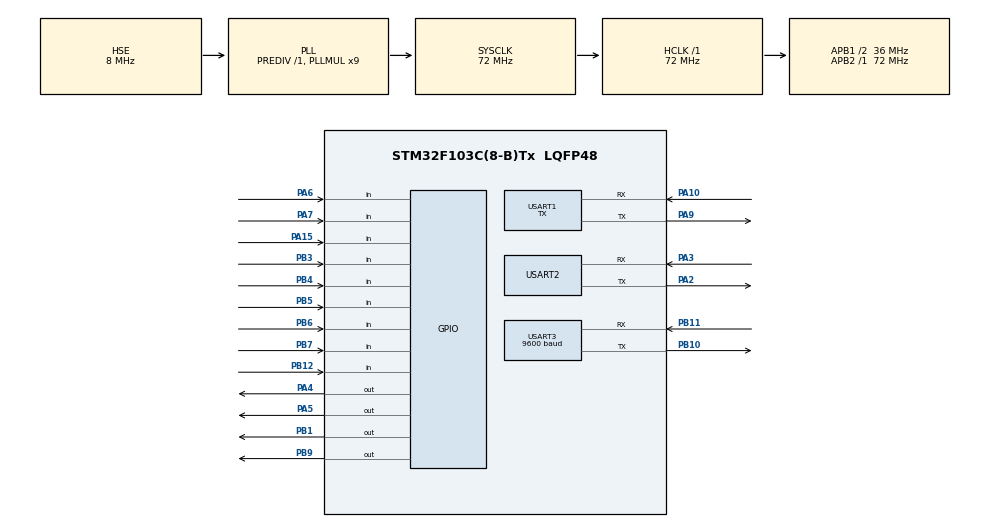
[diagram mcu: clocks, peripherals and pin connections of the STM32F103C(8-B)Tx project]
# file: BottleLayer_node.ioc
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Dma.Request0=USART3_RX
Dma.USART3_RX.0.Direction=DMA_PERIPH_TO_MEMORY
Dma.USART3_RX.0.Instance=DMA1_Channel3
Dma.USART3_RX.0.MemDataAlignment=DMA_MDATAALIGN_BYTE
Dma.USART3_RX.0.MemInc=DMA_MINC_ENABLE
Dma.USART3_RX.0.Mode=DMA_NORMAL
Dma.USART3_RX.0.PeriphDataAlignment=DMA_PDATAALIGN_BYTE
Dma.USART3_RX.0.PeriphInc=DMA_PINC_DISABLE
Dma.USART3_RX.0.Priority=DMA_PRIORITY_HIGH
FREERTOS.Queues01=RFID_DATA_Queue,4,uint16_t,0,Dynamic,NULL,NULL
FREERTOS.Tasks01=RFID_Reset_Task,24,128,StartRFIDResetTask,Default,NULL,Dynamic,NULL,NULL;RFID_RX,8,512,StartRFID_RX,Default,NULL,Dynamic,NULL,NULL
FREERTOS.configTOTAL_HEAP_SIZE=8192
Mcu.Family=STM32F1
Mcu.Name=STM32F103C(8-B)Tx
Mcu.Package=LQFP48
NVIC.DMA1_Channel3_IRQn=true\:5\:0\:false\:false\:true\:true\:false\:true\:true
NVIC.PriorityGroup=NVIC_PRIORITYGROUP_4
NVIC.TIM3_IRQn=true\:5\:0\:false\:false\:true\:false\:true\:true\:true
NVIC.TIM4_IRQn=true\:15\:0\:false\:false\:true\:false\:false\:true\:true
NVIC.TimeBase=TIM4_IRQn
NVIC.TimeBaseIP=TIM4
NVIC.USART3_IRQn=true\:5\:0\:false\:false\:true\:true\:true\:true\:true
PA10.Mode=Asynchronous
PA10.Signal=USART1_RX
PA13.Mode=Serial_Wire
PA13.Signal=SYS_JTMS-SWDIO
PA14.Mode=Serial_Wire
PA14.Signal=SYS_JTCK-SWCLK
PA15.Signal=GPIO_Input
PA2.Mode=Asynchronous
PA2.Signal=USART2_TX
PA3.Mode=Asynchronous
PA3.Signal=USART2_RX
PA4.GPIO_PuPd=GPIO_PULLDOWN
PA4.GPIO_Speed=GPIO_SPEED_FREQ_HIGH
PA4.Signal=GPIO_Output
PA5.GPIO_PuPd=GPIO_PULLDOWN
PA5.GPIO_Speed=GPIO_SPEED_FREQ_HIGH
PA5.Signal=GPIO_Output
PA6.Signal=GPIO_Input
PA7.Signal=GPIO_Input
PA9.Mode=Asynchronous
PA9.Signal=USART1_TX
PB1.GPIO_PuPd=GPIO_PULLUP
PB1.GPIO_Speed=GPIO_SPEED_FREQ_HIGH
PB1.Signal=GPIO_Output
PB10.Mode=Asynchronous
PB10.Signal=USART3_TX
PB11.Mode=Asynchronous
PB11.Signal=USART3_RX
PB12.Signal=GPIO_Input
PB3.Signal=GPIO_Input
PB4.Signal=GPIO_Input
PB5.Signal=GPIO_Input
PB6.Signal=GPIO_Input
PB7.Signal=GPIO_Input
PB9.GPIO_PuPd=GPIO_PULLUP
PB9.GPIO_Speed=GPIO_SPEED_FREQ_HIGH
PB9.Signal=GPIO_Output
PD0-OSC_IN.Mode=HSE-External-Oscillator
PD0-OSC_IN.Signal=RCC_OSC_IN
PD1-OSC_OUT.Mode=HSE-External-Oscillator
PD1-OSC_OUT.Signal=RCC_OSC_OUT
ProjectManager.HeapSize=0x200
ProjectManager.StackSize=0x400
ProjectManager.TargetToolchain=MDK-ARM V5.32
RCC.AHBFreq_Value=72000000
RCC.APB1CLKDivider=RCC_HCLK_DIV2
RCC.APB1Freq_Value=36000000
RCC.APB1TimFreq_Value=72000000
RCC.APB2Freq_Value=72000000
RCC.APB2TimFreq_Value=72000000
RCC.HCLKFreq_Value=72000000
RCC.PLLMUL=RCC_PLL_MUL9
RCC.PLLSourceVirtual=RCC_PLLSOURCE_HSE
RCC.SYSCLKFreq_VALUE=72000000
RCC.SYSCLKSource=RCC_SYSCLKSOURCE_PLLCLK
RCC.USBFreq_Value=72000000
TIM3.Period=35-1
TIM3.Prescaler=3600-1
USART1.Mode=MODE_TX
USART1.VirtualMode=VM_ASYNC
USART2.VirtualMode=VM_ASYNC
USART3.BaudRate=9600
USART3.Mode=MODE_RX
USART3.VirtualMode=VM_ASYNC
VP_FREERTOS_VS_CMSIS_V2.Mode=CMSIS_V2
VP_SYS_VS_tim4.Mode=TIM4
VP_TIM3_VS_ClockSourceINT.Mode=Internal
board=custom

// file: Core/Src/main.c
/* USER CODE BEGIN Header */
/**
  ******************************************************************************
  * @file           : main.c
  * @brief          : Main program body
  ******************************************************************************
  * @attention
  *
  * Copyright (c) 2022 STMicroelectronics.
  * All rights reserved.
  *
  * This software is licensed under terms that can be found in the LICENSE file
  * in the root directory of this software component.
  * If no LICENSE file comes with this software, it is provided AS-IS.
  *
  ******************************************************************************
  */
/* USER CODE END Header */
#include "main.h"
#include "cmsis_os.h"
#include "dma.h"
#include "tim.h"
#include "usart.h"
#include "gpio.h"

/* USER CODE BEGIN Includes */

#include "id.h"
/* USER CODE END Includes */

void SystemClock_Config(void);
void MX_FREERTOS_Init(void);

int main(void)
{

  /* MCU Configuration--------------------------------------------------------*/

  /* Reset of all peripherals, Initializes the Flash interface and the Systick. */
  HAL_Init();

  /* Configure the system clock */
  SystemClock_Config();

  /* Initialize all configured peripherals */
  MX_GPIO_Init();
  MX_DMA_Init();
  MX_USART1_UART_Init();
  MX_USART2_UART_Init();
  MX_TIM3_Init();
  MX_USART3_UART_Init();
  /* USER CODE BEGIN 2 */
	Getaddress();  // init address/id
  /* USER CODE END 2 */

  /* Init scheduler */
  osKernelInitialize();  /* Call init function for freertos objects (in freertos.c) */
  MX_FREERTOS_Init();

  /* Start scheduler */
  osKernelStart();

  /* We should never get here as control is now taken by the scheduler */
  /* Infinite loop */
  while (1)
  {

  }
}

void SystemClock_Config(void)
{
  RCC_OscInitTypeDef RCC_OscInitStruct = {0};
  RCC_ClkInitTypeDef RCC_ClkInitStruct = {0};

  /** Initializes the RCC Oscillators according to the specified parameters
  * in the RCC_OscInitTypeDef structure.
  */
  RCC_OscInitStruct.OscillatorType = RCC_OSCILLATORTYPE_HSE;
  RCC_OscInitStruct.HSEState = RCC_HSE_ON;
  RCC_OscInitStruct.HSEPredivValue = RCC_HSE_PREDIV_DIV1;
  RCC_OscInitStruct.HSIState = RCC_HSI_ON;
  RCC_OscInitStruct.PLL.PLLState = RCC_PLL_ON;
  RCC_OscInitStruct.PLL.PLLSource = RCC_PLLSOURCE_HSE;
  RCC_OscInitStruct.PLL.PLLMUL = RCC_PLL_MUL9;
  if (HAL_RCC_OscConfig(&RCC_OscInitStruct) != HAL_OK)
  {
    Error_Handler();
  }

  /** Initializes the CPU, AHB and APB buses clocks
  */
  RCC_ClkInitStruct.ClockType = RCC_CLOCKTYPE_HCLK|RCC_CLOCKTYPE_SYSCLK
                              |RCC_CLOCKTYPE_PCLK1|RCC_CLOCKTYPE_PCLK2;
  RCC_ClkInitStruct.SYSCLKSource = RCC_SYSCLKSOURCE_PLLCLK;
  RCC_ClkInitStruct.AHBCLKDivider = RCC_SYSCLK_DIV1;
  RCC_ClkInitStruct.APB1CLKDivider = RCC_HCLK_DIV2;
  RCC_ClkInitStruct.APB2CLKDivider = RCC_HCLK_DIV1;

  if (HAL_RCC_ClockConfig(&RCC_ClkInitStruct, FLASH_LATENCY_2) != HAL_OK)
  {
    Error_Handler();
  }
}

/* USER CODE BEGIN 4 */

//处理两次调用xTaskGetTickCount()间时长，xTaskGetTickCount()计满后从0开始，xTaskGetTickCount()详见freertos系统心跳
TickType_t GetTimeBetween(TickType_t nowTime,TickType_t preTime)
{
	TickType_t intervaltime;
	if(nowTime>preTime )
	{
		intervaltime=nowTime-preTime;
	}
	else if(nowTime<preTime)
	{
		intervaltime=portMAX_DELAY-preTime+nowTime;
	}
	else
	{
		intervaltime=0;
	}
	return intervaltime;
}
/* USER CODE END 4 */

void HAL_TIM_PeriodElapsedCallback(TIM_HandleTypeDef *htim)
{
  if (htim->Instance == TIM4) {
    HAL_IncTick();
  }
}

void Error_Handler(void)
{
  __disable_irq();
  while (1)
  {
  }
}

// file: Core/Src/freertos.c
/* USER CODE BEGIN Header */
/**
  ******************************************************************************
  * File Name          : freertos.c
  * Description        : Code for freertos applications
  ******************************************************************************
  * @attention
  *
  * Copyright (c) 2022 STMicroelectronics.
  * All rights reserved.
  *
  * This software is licensed under terms that can be found in the LICENSE file
  * in the root directory of this software component.
  * If no LICENSE file comes with this software, it is provided AS-IS.
  *
  ******************************************************************************
  */
/* USER CODE END Header */

#include "FreeRTOS.h"
#include "task.h"
#include "main.h"
#include "cmsis_os.h"

/* USER CODE BEGIN Includes */
#include "queue.h"
#include "usart.h"
#include "ctype.h"
#include <stdio.h>
#include "string.h"
/* USER CODE END Includes */

/* USER CODE BEGIN Variables */
uint8_t Rx_Cplt_Flag=0;  // RFID接收完成标志位
uint8_t RFID_RESET_FLAG=1;  //RFID唤醒标志位

uint8_t RX_len;    //RFID接收数据长度（字节）
uint8_t Uart3_RX_Buffer[MAX_BUFFER_SIZE];  //RFID接收缓冲区
/* USER CODE END Variables */
/* Definitions for RFID_Reset_Task */
osThreadId_t RFID_Reset_TaskHandle;   //RFID维持心跳句柄

 //RFID维持心跳线程
const osThreadAttr_t RFID_Reset_Task_attributes = {
  .name = "RFID_Reset_Task",
  .stack_size = 128 * 4,
  .priority = (osPriority_t) osPriorityNormal,
};

/* Definitions for RFID_RX */
osThreadId_t RFID_RXHandle;  //RFID接收数据句柄

 //RFID接收数据线程
const osThreadAttr_t RFID_RX_attributes = {
  .name = "RFID_RX",
  .stack_size = 1024 * 4,
  .priority = (osPriority_t) osPriorityNormal,
};
/* Definitions for RFID_DATA_Queue */
osMessageQueueId_t RFID_DATA_QueueHandle;   //RFID数据传输队列句柄
//RFID数据传输队列
const osMessageQueueAttr_t RFID_DATA_Queue_attributes = {
  .name = "RFID_DATA_Queue"
};

/* USER CODE BEGIN FunctionPrototypes */
extern void modbus_init(void);    //modbus初始化函数，详见Middlerwares/Freemodbus/uesr_app.c
uint8_t checksum(uint8_t *data);  //校验
float GetTemp(uint8_t *ns);   //读取温度
/* USER CODE END FunctionPrototypes */

void StartRFIDResetTask(void *argument);  //RFID心跳线程
void StartRFID_RX(void *argument);   //RFID接收数据线程

void MX_FREERTOS_Init(void); /* (MISRA C 2004 rule 8.1) */

void MX_FREERTOS_Init(void) {

  /* Create the queue(s) */
  /* creation of RFID_DATA_Queue */
  RFID_DATA_QueueHandle = osMessageQueueNew (4, sizeof(RFID_messageQ_t), &RFID_DATA_Queue_attributes);

  /* Create the thread(s) */
  /* creation of RFID_Reset_Task */
  RFID_Reset_TaskHandle = osThreadNew(StartRFIDResetTask, NULL, &RFID_Reset_Task_attributes);

  /* creation of RFID_RX */
  RFID_RXHandle = osThreadNew(StartRFID_RX, NULL, &RFID_RX_attributes);

  /* USER CODE BEGIN RTOS_THREADS */
  /* add threads, ... */
	modbus_init();
  /* USER CODE END RTOS_THREADS */

}

void StartRFIDResetTask(void *argument)
{
  /* USER CODE BEGIN StartRFIDResetTask */
	/* Infinite loop */
	for(;;)
	{
		/*由于RFID模块必须有方波心跳才会持续工作
			PB1为RFID Reset，PB9为心跳指示灯
			在上一包数据未处理完成前RFID_RESET_FLAG为0，不对RFID模块进行重置，此标志位相当于繁忙标志位
		  心跳频率1Hz
		*/
		if(RFID_RESET_FLAG)
		{
				 HAL_GPIO_WritePin(GPIOB,GPIO_PIN_1,GPIO_PIN_SET);
				 HAL_GPIO_WritePin(GPIOB,GPIO_PIN_9,GPIO_PIN_SET);
				 osDelay(500);
				 HAL_GPIO_WritePin(GPIOB,GPIO_PIN_1,GPIO_PIN_RESET);
				 HAL_GPIO_WritePin(GPIOB,GPIO_PIN_9,GPIO_PIN_RESET);
				 osDelay(500);
		}
	}
  /* USER CODE END StartRFIDResetTask */
}

void StartRFID_RX(void *argument)
{
	/* USER CODE BEGIN StartRFID_RX */

	/* 接收思想为空闲中断+DMA，保证不定长数据的完整性*/
	__HAL_UART_ENABLE_IT(&huart3, UART_IT_IDLE);  //开启空闲中断
	HAL_UART_Receive_DMA(&huart3, (uint8_t*)Uart3_RX_Buffer, MAX_BUFFER_SIZE);   //开启DMA接收

	uint8_t tmpstr[10];   //格式化温度字符串的缓存区
	uint8_t strTime[10];   //时长格式化缓冲区
  uint8_t  len=0;       //格式化字符串长度

	RFID_messageQ_t  Message;   //队列传送的数据结构，详见main.h
	BaseType_t xReturn =pdPASS;

	volatile  TickType_t DebounceTime=0;  //消抖时长
	volatile  TickType_t resumTime=0;     //电磁开关闭合时长
	volatile  TickType_t key_pretime=0;   //存储开关刚闭合的时间，用于消抖

	uint8_t Msg_flag=0;   //判断是否有标签数据读到的标志位
	uint8_t key_flag=0;   //判断电磁开关是否闭合的标志位，用于计算闭合时长
	uint8_t Trig_flag=0;  //电磁开关首次触发，用于消抖

	/*变量空间初始化*/
	memset(tmpstr,0,10);
	memset(strTime,0,10);
	memset(&Message,0,sizeof(Message));
	/* Infinite loop */
	for(;;)
	{

		/*电磁开关非阻塞式消抖*/
		if(HAL_GPIO_ReadPin(GPIOB,GPIO_PIN_12)==RESET  && key_flag==0 && Trig_flag==0)
		{
				DebounceTime=xTaskGetTickCount();
				Trig_flag=1;
		}
		if(HAL_GPIO_ReadPin(GPIOB,GPIO_PIN_12)==RESET  && key_flag==0 && Trig_flag==1)
		{
				/*确认闭合*/
				if(GetTimeBetween(xTaskGetTickCount(),DebounceTime)>30)
				{
					key_pretime=xTaskGetTickCount();  //闭合开始计时
					key_flag=1;
					DebounceTime=0;
					Trig_flag=0;
				}
		}

		if(HAL_GPIO_ReadPin(GPIOB,GPIO_PIN_12)==SET  && key_flag==0)
		{
			/*上次触发属于抖动*/
			DebounceTime=0;
			Trig_flag=0;
		}
		/*消抖结束*/

		if(HAL_GPIO_ReadPin(GPIOB,GPIO_PIN_12)==SET  && key_flag==1)
		{
			/*电磁开关断开*/
			resumTime=GetTimeBetween(xTaskGetTickCount(),key_pretime);  /*计数结束*/
			key_flag=0;
		}

		/*接收数据*/
		if(Rx_Cplt_Flag==1)
		{
			/*有数据接收完成*/
			if(Uart3_RX_Buffer[0]==0x02 && Uart3_RX_Buffer[29]==0x03)  //校验帧头和帧尾
			{
					//校验成功
					RFID_RESET_FLAG=0; //RFID标志位置1，处理数据，暂停RFID的读取
					if(checksum(Uart3_RX_Buffer+1))   //加和校验数据正确性，详见RFID模块文档
					{
						len=sprintf((char *)tmpstr,"%.2f\r\n",GetTemp(Uart3_RX_Buffer+21));  //提取温度

						//转发14个字节的卡号，前10个字节为卡号，后4个字节为国家码,现无需国家码，低位在前高位在后
						/*   以下数据chuli方式
						原始数据：       9 8 7 6 5 4 3 2 1 0
						经modbus发送后 ：8 7 6 7 4 5 2 3 0 1     modbus为16位寄存器，且地位在前，高位在后
						现处理为 ：      1 0 3 2 5 4 7 6 9 8
						现发送到主机为： 0 1 2 3 4 5 6 7 8 9
						*/
						for(int k=0;k<5;k++)
						{
							Message.info[9-2*k]=Uart3_RX_Buffer[1+2*k+1];
							Message.info[9-2*k-1]=Uart3_RX_Buffer[1+2*k];
						}
						//转发温度
						for(int k=0;k<2;k++)
						{
							Message.info[10+2*k]=tmpstr[2*k+1];
							Message.info[10+2*k+1]=tmpstr[2*k];
						}
//					HAL_UART_Transmit(&huart1,Uart3_RX_Buffer+1,30,0x1000);
//					HAL_UART_Transmit(&huart1,(uint8_t *)" ",1,0x1000);
//					HAL_UART_Transmit(&huart1,tmpstr,len,0x1000);
						Msg_flag=1;  //有卡读到
					}
					/*数据处理完成，各标志位归位，并重新开启DMA接收*/
			}
			RX_len=0;
			Rx_Cplt_Flag=0;
			RFID_RESET_FLAG=1;
			memset(Uart3_RX_Buffer,0,MAX_BUFFER_SIZE);
			HAL_UART_Receive_DMA(&huart3, (uint8_t*)Uart3_RX_Buffer, MAX_BUFFER_SIZE);

		}

		/*电磁开关已经触发*/
		if(resumTime!=0)
		{
			if(Msg_flag==0)  /*判断是否有数据读到*/
			{
				//test info赋值
				for(int k=0;k<7;k++)
				{
						Message.info[2*k]=testIdAndtemp[2*k+1];
						Message.info[2*k+1]=testIdAndtemp[2*k];
				}
			}
			sprintf((char *)strTime,"%04d",resumTime/1000);
			for(int k=0;k<2;k++)
			{
				Message.info[14+2*k]=strTime[2*k+1];
				Message.info[14+2*k+1]=strTime[2*k];
			}
			/*消息队列*/
			xReturn=xQueueSend(RFID_DATA_QueueHandle,&Message,0);
			Msg_flag=0;
			resumTime=0;
		}
	}
	/* USER CODE END StartRFID_RX */
}

/* USER CODE BEGIN Application */

/* 加和校验，详见RFID模块技术资料*/
uint8_t checksum(uint8_t *data)
{
	uint8_t sum=0;
	for(int i=0;i<26;i++)
	{
		sum^=*(data+i);
	}
	if(sum == *(data+27) && (~sum) == *(data+28))
	{
		return HAL_OK;
	}
	else
	{
		return  HAL_ERROR;
	}
}
/* 温度处理，逆向破解，如有使用直接复制*/
float GetTemp(uint8_t *ns)
{
		uint8_t s[2];
		s[0]=*(ns+1);
		s[1]=*(ns);
		uint8_t i;
		uint16_t n = 0;
		if (s[0] == '0' && (s[1]=='x' || s[1]=='X'))
		{
				i = 2;
		}
		else
		{
				i = 0;
		}
		for (; (s[i] >= '0' && s[i] <= '9') || (s[i] >= 'a' && s[i] <= 'z') || (s[i] >='A' && s[i] <= 'Z');++i)
		{
				if (tolower(s[i]) > '9')
				{
						n = 16 * n + (10 + tolower(s[i]) - 'a');
				}
				else
				{
						n = 16 * n + (tolower(s[i]) - '0');
				}
		}
		return 0.111826 * n + 23.315956;
}
/* USER CODE END Application */
